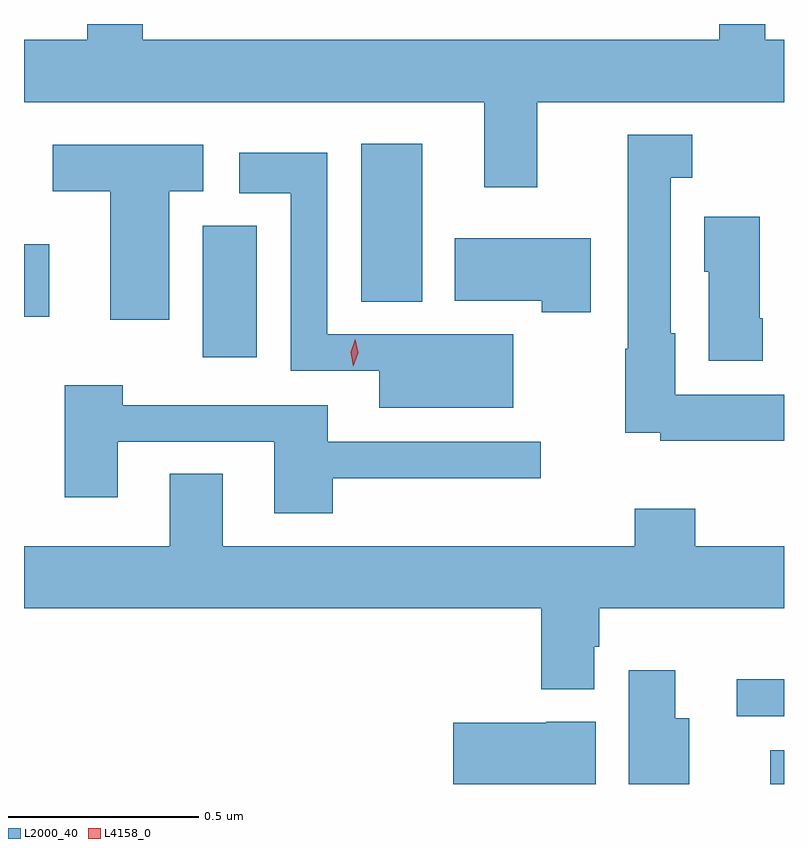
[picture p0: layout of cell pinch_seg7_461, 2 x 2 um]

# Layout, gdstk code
import gdstk
lib = gdstk.Library(unit=1e-6, precision=1e-09)
def R(c, l, rs):  # rectangles x0, y0, x1, y1
    for r in rs: c.add(gdstk.rectangle(r[:2], r[2:], *l))
def P(c, l, *ps):  # polygons
    for p in ps: c.add(gdstk.Polygon(p, *l))
L2000_40 = (2000, 40)
L4158_0 = (4158, 0)

pinch_seg7_461 = lib.new_cell('pinch_seg7_461')
R(pinch_seg7_461, L2000_40, [(269.852,1052.102,269.888,1052.191), (269.763,1052.28,269.888,1052.378), (268.358,1053.225,268.501,1053.571), (267.888,1053.332,267.955,1053.523), (268.775,1053.371,268.936,1053.787)])
P(pinch_seg7_461, L2000_40, [(269.239,1053.896),(269.888,1053.896),(269.888,1054.06),(269.839,1054.06),(269.839,1054.102),(269.718,1054.102),(269.718,1054.06),(268.201,1054.06),(268.201,1054.102),(268.054,1054.102),(268.054,1054.06),(267.888,1054.06),(267.888,1053.896),(269.099,1053.896),(269.099,1053.672),(269.239,1053.672)],
  [(269.888,1053.127),(269.602,1053.127),(269.602,1053.288),(269.59,1053.288),(269.59,1053.698),(269.647,1053.698),(269.647,1053.811),(269.477,1053.811),(269.477,1053.248),(269.47,1053.248),(269.47,1053.026),(269.562,1053.026),(269.562,1053.005),(269.888,1053.005)],
  [(268.27,1053.662),(268.36,1053.662),(268.36,1053.784),(267.963,1053.784),(267.963,1053.662),(268.115,1053.662),(268.115,1053.324),(268.27,1053.324)],
  [(269.176,1053.286),(268.932,1053.286),(268.932,1053.285),(268.686,1053.285),(268.686,1053.763),(268.455,1053.763),(268.455,1053.656),(268.59,1053.656),(268.59,1053.189),(268.823,1053.189),(268.823,1053.092),(269.176,1053.092)],
  [(269.832,1053.328),(269.824,1053.328),(269.824,1053.595),(269.678,1053.595),(269.678,1053.45),(269.69,1053.45),(269.69,1053.216),(269.832,1053.216)],
  [(269.38,1053.538),(269.021,1053.538),(269.021,1053.374),(269.251,1053.374),(269.251,1053.344),(269.38,1053.344)],
  [(268.7,1052.906),(269.248,1052.906),(269.248,1053.003),(268.687,1053.003),(268.687,1053.099),(268.148,1053.099),(268.148,1053.151),(267.995,1053.151),(267.995,1052.856),(268.135,1052.856),(268.135,1053.003),(268.547,1053.003),(268.547,1052.814),(268.7,1052.814)],
  [(269.389,1052.463),(269.402,1052.463),(269.402,1052.564),(269.888,1052.564),(269.888,1052.728),(269.655,1052.728),(269.655,1052.827),(269.495,1052.827),(269.495,1052.728),(268.411,1052.728),(268.411,1052.918),(268.271,1052.918),(268.271,1052.728),(267.888,1052.728),(267.888,1052.564),(269.249,1052.564),(269.249,1052.351),(269.389,1052.351)],
  [(269.638,1052.275),(269.602,1052.275),(269.602,1052.401),(269.48,1052.401),(269.48,1052.102),(269.638,1052.102)],
  [(269.392,1052.266),(269.262,1052.266),(269.262,1052.263),(269.018,1052.263),(269.018,1052.102),(269.392,1052.102)])
P(pinch_seg7_461, L4158_0, [(268.755,1053.201),(268.755,1053.202),(268.748,1053.238),(268.76,1053.273),(268.76,1053.273),(268.76,1053.273),(268.768,1053.237),(268.755,1053.202)])

lib.write_gds('pinch_seg7_461.gds')
